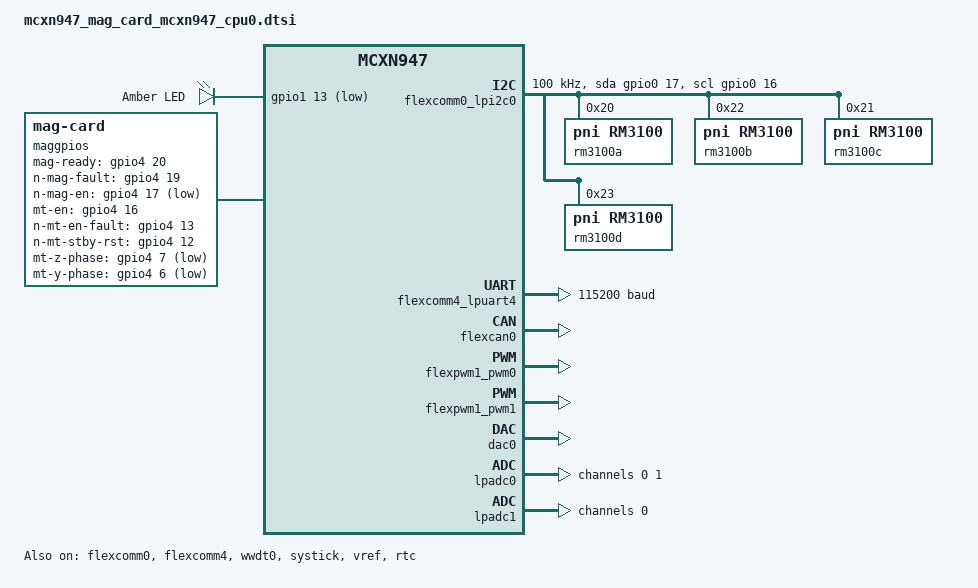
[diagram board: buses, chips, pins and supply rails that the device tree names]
/*
 * Copyright 2024 NXP
 *
 * SPDX-License-Identifier: Apache-2.0
 */

/* Common dts file to enable supported features for CPU 0.
 * This file is included by both the default variant
 * which is run from internal flash and the QSPI variant.
 */
/dts-v1/;

#include <nxp/mcx/nxp_mcxn94x.dtsi>
#include <zephyr/dt-bindings/i2c/i2c.h>
#include <zephyr/dt-bindings/gpio/gpio.h>
#include <zephyr/dt-bindings/adc/adc.h>
#include <zephyr/dt-bindings/adc/mcux-lpadc.h>
#include <zephyr/dt-bindings/spi/spi.h>
#include <zephyr/dt-bindings/gpio/nxp-kinetis-gpio.h>
#include <zephyr/dt-bindings/pwm/pwm.h>
#include <zephyr/dt-bindings/sensor/rm3100.h>

/ {
	cpus {
		/delete-node/ cpu@1;
	};

	oresat_demo: oresat-demo-enabled {}; /* Enable demos for supported boards */

	chosen {
		zephyr,sram = &sram0;
		zephyr,flash = &flash;
		zephyr,flash-controller = &fmu;
		zephyr,code-partition = &slot0_partition;
		zephyr,uart-mcumgr = &flexcomm4_lpuart4;
		zephyr,console = &flexcomm4_lpuart4;
		zephyr,shell-uart = &flexcomm4_lpuart4;
		zephyr,canbus = &flexcan0;
		zephyr,code-cpu1-partition = &slot1_partition;
	};

	aliases{
		led0 = &amber_led;
		watchdog0 = &wwdt0;
		rtc = &rtc;
		adc0 = &lpadc0;
		adc1 = &lpadc1;
		i2c-0 = &flexcomm0_lpi2c0;
		mag0 = &rm3100a;
		mag1 = &rm3100b;
		pwm0 = &flexpwm1_pwm0;
		pwm1 = &flexpwm1_pwm1;
	};

	leds {
		compatible = "gpio-leds";
		amber_led: led_1 {
			gpios = <&gpio1 13 GPIO_ACTIVE_LOW>;
			label = "Amber LED";
			status = "okay";
		};
	};

	maggpios: mag-gpios {
		compatible = "mag-card";
		mag-ready-gpios = <&gpio4 20 0>;	/* in */
		n-mag-fault-gpios = <&gpio4 19 0>;	/* in */
		n-mag-en-gpios = <&gpio4 17 GPIO_ACTIVE_LOW>; 	/* out */
		mt-en-gpios = <&gpio4 16 (GPIO_OPEN_DRAIN | GPIO_ACTIVE_HIGH)>; /* open drain out */
		n-mt-en-fault-gpios = <&gpio4 13 0>;/* in */
		n-mt-stby-rst-gpios = <&gpio4 12 0>;/* out */
		mt-z-phase-gpios = <&gpio4 7 GPIO_ACTIVE_LOW>;	/* out */
		mt-y-phase-gpios = <&gpio4 6 GPIO_ACTIVE_LOW>;	/* out */
		mt-x-phase-gpios = <&gpio4 5 GPIO_ACTIVE_LOW>;	/* out */
		hw-rev-bit-0-gpios = <&gpio0 21 0>; /* in -- enable pull up in init code */
		hw-rev-bit-1-gpios = <&gpio0 22 0>; /* in -- enable pull up in init code */
		hw-rev-bit-2-gpios = <&gpio0 23 0>; /* in -- enable pull up in init code */
		tcan-nfault-oc-gpios = <&gpio1 12 0>; /* in; only on board v1.1 */
		tcan-silent-gpios = <&gpio1 14 0>;	/* out; only on board v1.1 */
	};

	zephyr,user {
		dac0 = <&dac0>;
		dac-channel-id = <0>;
		dac-resolution = <12>;
		status = "okay";
		r58-ohms = <237>; /* DAC output voltage divider numerator; denominator is 1K */
	};
};

&flexcomm0 {
	status = "okay";
};

&flexcomm0_lpi2c0 {
	pinctrl-0 = <&pinmux_flexcomm0_lpi2c>;
	pinctrl-names = "default";
	clock-frequency = <I2C_BITRATE_STANDARD>;
	status = "okay";
	scl-gpios = <&gpio0 16 0>; /* (GPIO_OPEN_DRAIN | GPIO_PULL_UP)>; */
	sda-gpios = <&gpio0 17 0>; /* (GPIO_OPEN_DRAIN | GPIO_PULL_UP)>; */

	rm3100a: rm3100@20 {
			compatible = "pni,rm3100";
			reg = <0x20>;
			odr = <RM3100_DT_ODR_300>;
			status = "okay";
			zephyr,deferred-init;
	};
	rm3100b: rm3100@22 {
			compatible = "pni,rm3100";
			reg = <0x22>;
			odr = <RM3100_DT_ODR_300>;
			status = "okay";
			zephyr,deferred-init;
	};
	rm3100c: rm3100@21 {
			compatible = "pni,rm3100";
			reg = <0x21>;
			odr = <RM3100_DT_ODR_300>;
			status = "okay";
			zephyr,deferred-init;
	};
	rm3100d: rm3100@23 {
			compatible = "pni,rm3100";
			reg = <0x23>;
			odr = <RM3100_DT_ODR_300>;
			status = "okay";
			zephyr,deferred-init;
	};
};

&flexcomm4 {
	status = "okay";
};

&flexcomm4_lpuart4 {
	current-speed = <115200>;
	pinctrl-0 = <&pinmux_flexcomm4_lpuart>;
	pinctrl-names = "default";
	status = "okay";
};

&flexcan0 {
	pinctrl-0 = <&pinmux_flexcan0>;
	pinctrl-names = "default";
	status = "okay";
};

/*
 * Default for this board is to allocate SRAM0-5 to cpu0 but the
 * application can have an application specific device tree to
 * allocate the SRAM0-7 differently.
 *
 * For example, SRAM0-6 could be allocated to cpu0 with only SRAM7
 * for cpu1. This would require the value of sram0 to have a DT_SIZE_K
 * of 384. You would have to make updates to cpu1 sram settings as well.
 */
&sram0 {
	compatible = "mmio-sram";
	reg = <0x20000000 DT_SIZE_K(320)>;
};

&sram {
	sramg: memory@20050000 {
		compatible = "mmio-sram";
		reg = <0x20050000 DT_SIZE_K(64)>;
	};
	sramh: memory@20060000 {
		compatible = "mmio-sram";
		reg = <0x20060000 DT_SIZE_K(32)>;
	};
};

&flash {
	partitions {
		compatible = "fixed-partitions";
		#address-cells = <1>;
		#size-cells = <1>;

		/*
		 * Partition sizes must be aligned
		 * to the flash memory sector size of 8KB.
		 */
		boot_partition: partition@0 {
			label = "mcuboot";
			reg = <0x00000000 DT_SIZE_K(80)>;
		};
		slot0_partition: partition@14000 {
			label = "image-0";
			reg = <0x00014000 DT_SIZE_K(968)>;
		};
		slot1_partition: partition@10A000 {
			label = "image-1";
			reg = <0x0010A000 DT_SIZE_K(968)>;
		};
		storage_partition: partition@1fc000 {
			label = "storage";
			reg = <0x001fc000 DT_SIZE_K(16)>;
		};
	};
};

&mbox {
	status = "disabled";
};

&gpio4 {
	status = "okay";
};

&gpio1 {
	status = "okay";
};

&gpio0 {
	status = "okay";
};

&gpio2 {
	status = "okay";
};

&edma0 {
	status = "okay";
};

&wwdt0 {
	status = "okay";
};

&systick {
	status = "okay";
};

&ctimer0 {
	status = "disabled";
};

&vref {
	status = "okay";
};

&lptmr0 {
	status = "disabled";
};

&flexio0 {
	status = "disabled";
};

&mrt0_channel0 {
	status = "disabled";
};

&rtc {
	status = "okay";
};

&sc_timer {
	pinctrl-0 = <&pinmux_sctimer>;
	pinctrl-names = "default";
	status = "disabled";
};

&enet {
	status = "disabled";
};

&flexpwm1_pwm0 {
	pinctrl-0 = <&pinmux_flexpwm1_pwm0>;
	pinctrl-names = "default";
	status = "okay";
};

&flexpwm1_pwm1 {
	pinctrl-0 = <&pinmux_flexpwm1_pwm1>;
	pinctrl-names = "default";
	status = "okay";
};

&dac0 {
	pinctrl-0 = <&pinmux_dac0>;
	pinctrl-names = "default";
	voltage-reference = <0>;
	status = "okay";
};

&lpadc0 {
	pinctrl-0 = <&pinmux_lpadc0_0>, <&pinmux_lpadc0_1>;
	pinctrl-names = "default";

	#address-cells = <1>;
	#size-cells = <0>;
	status = "okay";

	voltage-ref = < 0x0 >;
   power-level = < 0x01 >;

	lpadc0_0: channel@0 { /* Z */
		reg = <0>;
		zephyr,gain = "ADC_GAIN_1";
		zephyr,reference = "ADC_REF_EXTERNAL0";
		zephyr,vref-mv = <3300>;
		zephyr,acquisition-time = <ADC_ACQ_TIME(ADC_ACQ_TIME_MICROSECONDS,2)>;
		zephyr,resolution = <12>;
		zephyr,oversampling = <7>;
		zephyr,input-positive = <MCUX_LPADC_CH0A>;
		/delete-property/ zephyr,differential;
	};
	lpadc0_1: channel@1 { /* Y */
		reg = <1>;
		zephyr,gain = "ADC_GAIN_1";
		zephyr,reference = "ADC_REF_EXTERNAL0";
		zephyr,vref-mv = <3300>;
		zephyr,acquisition-time = <ADC_ACQ_TIME(ADC_ACQ_TIME_MICROSECONDS,2)>;
		zephyr,resolution = <12>;
		zephyr,oversampling = <7>;
		zephyr,input-positive = <MCUX_LPADC_CH0B>;
		/* from unnessessary rework: <MCUX_LPADC_CH1A>; */
		/delete-property/ zephyr,differential;
	};
};

&lpadc1 {
	pinctrl-0 = <&pinmux_lpadc1_0>;
	pinctrl-names = "default";

	#address-cells = <1>;
	#size-cells = <0>;
	status = "okay";

	voltage-ref = < 0x0 >;
   power-level = < 0x01 >;

	lpadc1_0: channel@0 { /* X */
		reg = <0>;
		zephyr,gain = "ADC_GAIN_1";
		zephyr,reference = "ADC_REF_EXTERNAL0";
		zephyr,vref-mv = <3300>;
		zephyr,acquisition-time = <ADC_ACQ_TIME(ADC_ACQ_TIME_MICROSECONDS,2)>;
		zephyr,resolution = <12>;
		zephyr,oversampling = <7>;
		zephyr,input-positive = <MCUX_LPADC_CH0A>;
		/delete-property/ zephyr,differential;
	};
};
